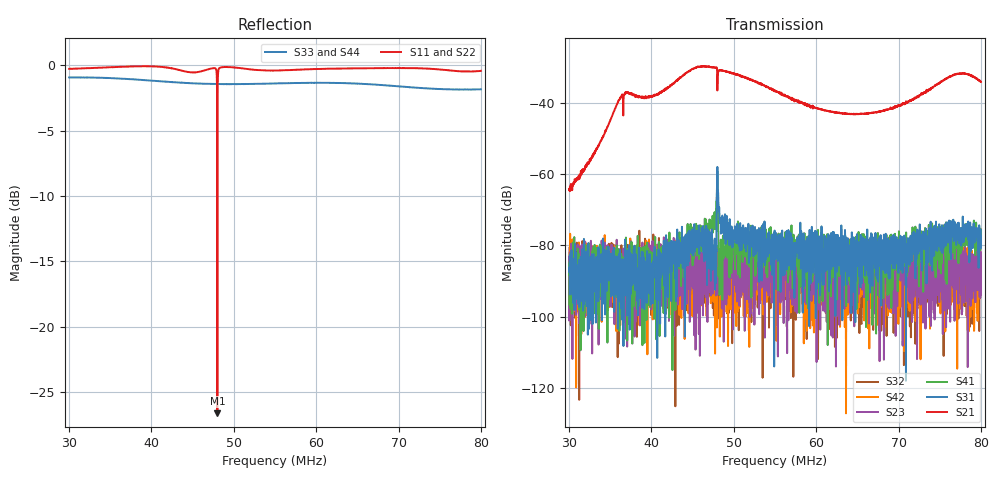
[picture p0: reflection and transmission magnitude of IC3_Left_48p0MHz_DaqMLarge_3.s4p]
#  HZ  S  DB  R  50.00
! Rohde & Schwarz Vector Network Analyzer
! Rohde-Schwarz,ZNB8-4Port,1311601044102961,2.82
! Created: UTC 2/12/2019, 11:36:14 AM
! freq[Hz]  db:S11  ang:S11  db:S12  ang:S12  db:S13  ang:S13  db:S14  ang:S14
!  db:S21  ang:S21  db:S22  ang:S22  db:S23  ang:S23  db:S24  ang:S24
!  db:S31  ang:S31  db:S32  ang:S32  db:S33  ang:S33  db:S34  ang:S34
!  db:S41  ang:S41  db:S42  ang:S42  db:S43  ang:S43  db:S44  ang:S44
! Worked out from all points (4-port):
!   2001 points, 30 MHz to 80 MHz, reference 50 ohm
!   strongest paths, dB at 30 MHz, 42.5 MHz, 55 MHz, 67.5 MHz, 80 MHz:
!     S21: -64.2, -34.7, -36.5, -42.5, -34.1
!     S31: -86.3, -84.2, -79.5, -84.4, -75.6
!     S41: -96.6, -97.9, -81.8, -76.5, -78.6
!     S23: -88.8, -86.4, -89.0, -94.0, -93.8
!     S42: -87.6, -89.5, -91.5, -89.3, -87.1
!     S32: -86.8, -83.9, -81.9, -84.6, -87.2
!   lowest |S11| = -26.6 dB at 48 MHz (marker M1), VSWR 1.10, Z = 48.6 + j4.38 ohm
!   |S11| at or under -10 dB: 47.98163 MHz to 48.01802 MHz (36.38 kHz wide, 0.0758 % of centre)
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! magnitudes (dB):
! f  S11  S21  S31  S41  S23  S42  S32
! 30 MHz  -0.3  -64.2  -86.3  -96.6  -88.8  -87.6  -86.8
! 36.27 MHz  -0.1  -38.3  -87.0  -95.1  -94.4  -84.5  -93.9
! 47.62 MHz  -0.2  -30.0  -86.9  -74.4  -84.2  -93.0  -87.8
! 48 MHz  -26.6  -36.5  -58.0  -59.1  -91.2  -91.4  -80.5
! 48.4 MHz  -0.2  -30.8  -72.7  -83.2  -82.6  -82.8  -87.9
! 64.12 MHz  -0.2  -43.1  -82.3  -79.6  -92.9  -93.1  -93.5
! 80 MHz  -0.4  -34.1  -75.6  -78.6  -93.8  -87.1  -87.2
